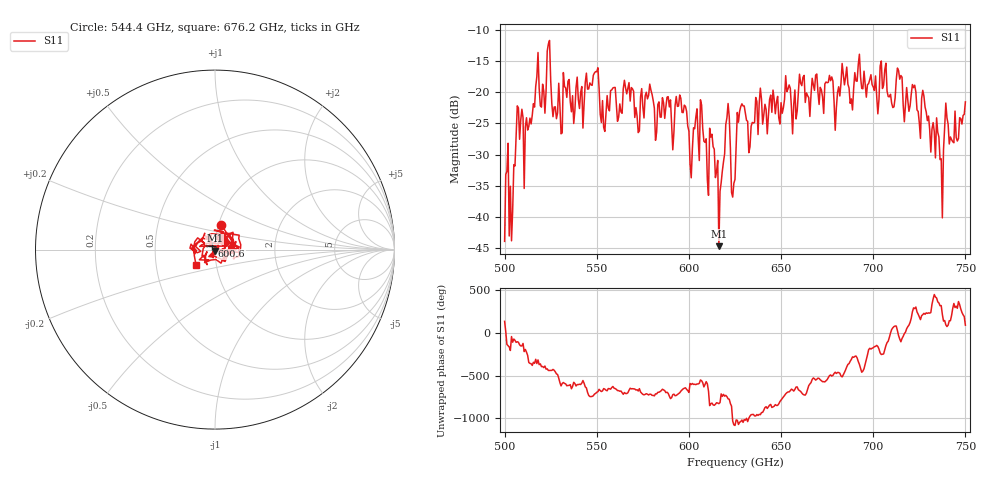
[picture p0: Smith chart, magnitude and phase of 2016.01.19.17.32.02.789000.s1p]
!Created with skrf (http://scikit-rf.org).
# GHz S RI R 50.0
!freq ReS11 ImS11
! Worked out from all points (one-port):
!   401 points, 500 GHz to 750 GHz, reference 50 ohm
!   lowest |S11| = -44.6 dB at 616.2 GHz (marker M1), VSWR 1.01, Z = 49.8 - j0.553 ohm
!   |S11| at or under -10 dB: start of sweep to end of sweep
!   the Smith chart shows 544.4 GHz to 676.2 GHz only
!   S11 on the Smith chart (normalised r, x): 544.4 GHz: 1.03, +0.29; 600.6 GHz: 0.97, +0.04; 676.2 GHz: 0.80, -0.14
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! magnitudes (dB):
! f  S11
! 500 GHz  -43.9
! 501.9 GHz  -28.2
! 503.8 GHz  -43.8
! 508.1 GHz  -27.5
! 511.9 GHz  -24.1
! 517.5 GHz  -17.5
! 520.6 GHz  -18.7
! 523.8 GHz  -12.3
! 526.9 GHz  -22.4
! 531.2 GHz  -26.5
! 544.4 GHz  -17.0
! 562.5 GHz  -21.9
! 593.8 GHz  -22.3
! 600.6 GHz  -31.5
! 607.5 GHz  -25.8
! 616.2 GHz  -44.6
! 620.6 GHz  -24.1
! 625 GHz  -34.0
! 628.8 GHz  -21.9
! 633.8 GHz  -25.4
! 656.2 GHz  -26.7
! 676.2 GHz  -17.3
! 687.5 GHz  -21.8
! 718.8 GHz  -21.3
! 727.5 GHz  -20.6
! 736.9 GHz  -30.7
! 739.4 GHz  -21.7
! 750 GHz  -21.6
